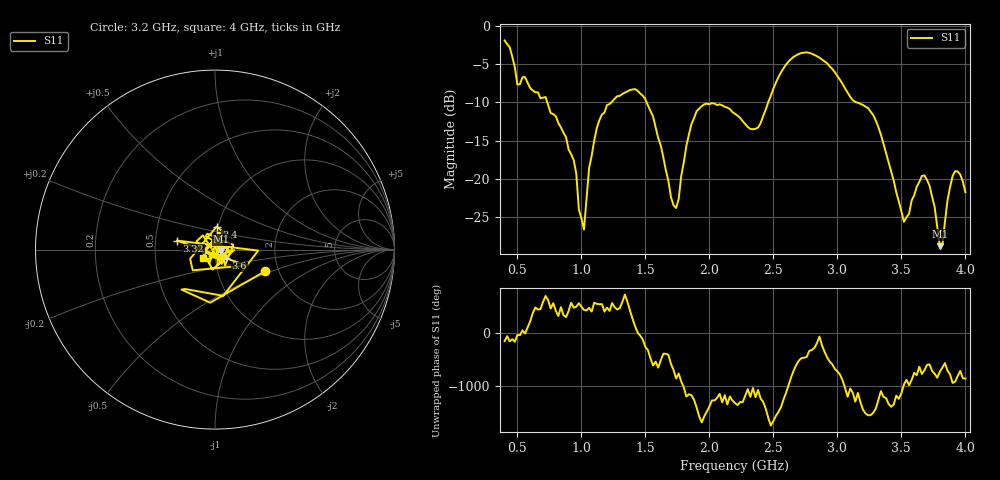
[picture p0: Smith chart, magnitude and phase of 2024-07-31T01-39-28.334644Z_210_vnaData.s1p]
!Created with skrf (http://scikit-rf.org).
# Hz S RI R 50.0
!freq ReS11 ImS11
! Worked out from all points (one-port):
!   181 points, 400 MHz to 4 GHz, reference 50 ohm
!   lowest |S11| = -28.8 dB at 3.8 GHz (marker M1), VSWR 1.08, Z = 53.6 - j1.09 ohm
!   |S11| at or under -10 dB: 733.3 MHz to 1.233 GHz (499.7 MHz wide, 50.8 % of centre); 1.51 GHz to 2.459 GHz (949 MHz wide, 47.8 % of centre); 3.152 GHz to end of sweep
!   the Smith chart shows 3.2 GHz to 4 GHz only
!   S11 on the Smith chart (normalised r, x): 3.2 GHz: 1.70, -0.45; 3.32 GHz: 0.65, +0.07; 3.4 GHz: 0.98, +0.26; 3.6 GHz: 1.13, -0.11; 4 GHz: 0.87, -0.08
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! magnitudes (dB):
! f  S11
! 400 MHz  -1.9
! 500 MHz  -7.7
! 720 MHz  -9.3
! 860 MHz  -14.0
! 940 MHz  -17.6
! 1.02 GHz  -26.6
! 1.06 GHz  -18.6
! 1.12 GHz  -13.4
! 1.3 GHz  -9.1
! 1.5 GHz  -9.6
! 1.72 GHz  -23.5
! 1.76 GHz  -22.6
! 1.9 GHz  -11.1
! 2.2 GHz  -11.5
! 2.38 GHz  -13.3
! 2.66 GHz  -4.0
! 2.86 GHz  -4.1
! 3.1 GHz  -9.3
! 3.2 GHz  -10.3
! 3.32 GHz  -13.2
! 3.4 GHz  -17.9
! 3.52 GHz  -25.6
! 3.56 GHz  -24.6
! 3.6 GHz  -22.1
! 3.7 GHz  -20.1
! 3.8 GHz  -28.8
! 3.9 GHz  -19.6
! 4 GHz  -21.7
